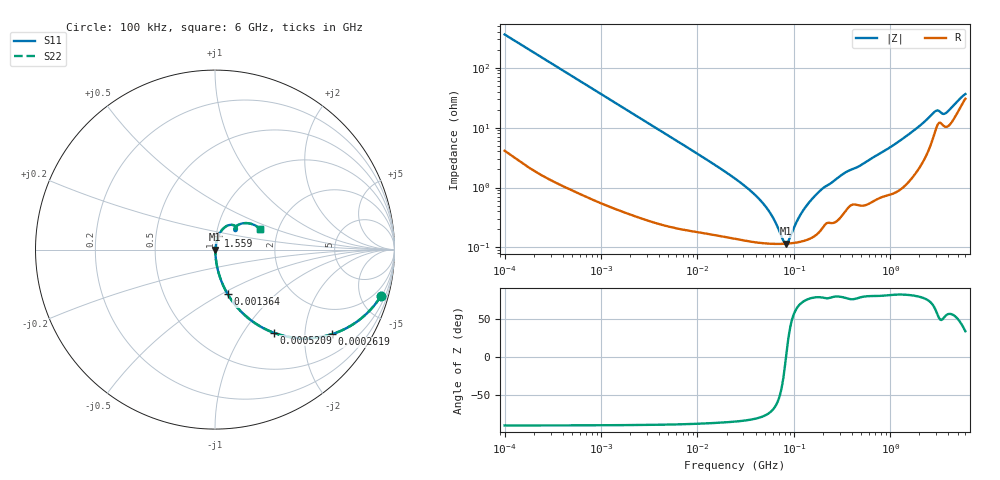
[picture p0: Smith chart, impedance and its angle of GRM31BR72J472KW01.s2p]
!Murata Part Number: GRM31BR72J472KW01
!These Parameters are Measured in Series Mode Connection
!Data Generated on Mar 30, 2021
!  o--ll--o
!Port1  Port2
!  o------o
!Operation Temp=25[degC], DC Bias Voltage=0[V]
!Freq. Start=100[kHz] Stop=6[GHz] 401[Steps]
# Hz S RI R 50
!Freq.(Hz) S11(Real) S11(Imag) S21(Real) S21(Imag) S12(Real) S12(Imag) S22(Real) S22(Imag)
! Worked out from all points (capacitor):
!   401 points, 100 kHz to 6 GHz, reference 50 ohm
!   read as one part in series: C = 4.44 nF near 105.7 kHz
!   lowest |Z| = 116 mohm at 82.16 MHz (marker M1)
!   series resonance near 82.84 MHz, so ESL is about 830 pH
!   S11 on the Smith chart (normalised r, x): 100 kHz: 1.08, -7.16; 261.9 kHz: 1.03, -2.75; 520.9 kHz: 1.02, -1.39; 1.364 MHz: 1.01, -0.53; 1.559 GHz: 1.03, +0.15; 6 GHz: 1.61, +0.40
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100000  0.9251 -0.2576  0.0749 0.2576  0.0749 0.2576  0.9251 -0.2576
164065  0.8247 -0.3749  0.1753 0.3749  0.1753 0.3749  0.8247 -0.3749
261871  0.6524 -0.4708  0.3476 0.4708  0.3476 0.4708  0.6524 -0.4708
520862  0.3271 -0.4629  0.6729 0.4629  0.6729 0.4629  0.3271 -0.4629
631452  0.2502 -0.4266  0.7498 0.4266  0.7498 0.4266  0.2502 -0.4266
1363989  0.07 -0.247  0.93 0.247  0.93 0.247  0.07 -0.247
3987316  0.0108 -0.0907  0.9892 0.0907  0.9892 0.0907  0.0108 -0.0907
2.517799e7  0.00156 -0.0136  0.9984 0.0136  0.9984 0.0136  0.00156 -0.0136
5.007898e7  0.00119 -0.00484  0.9988 0.00484  0.9988 0.00484  0.00119 -0.00484
6.07118e7  0.00116 -0.00292  0.9988 0.00292  0.9988 0.00292  0.00116 -0.00292
7.565474e7  0.00115 -0.000842  0.9989 0.000842  0.9989 0.000842  0.00115 -0.000842
8.216224e7  0.00115 -7.56e-05  0.9988 7.56e-05  0.9988 7.56e-05  0.00115 -7.56e-05
8.922949e7  0.00117 0.000692  0.9988 -0.000692  0.9988 -0.000692  0.00117 0.000692
1.174795e8  0.00126 0.00333  0.9987 -0.00333  0.9987 -0.00333  0.00126 0.00333
1.546735e8  0.0015 0.00629  0.9985 -0.00629  0.9985 -0.00629  0.0015 0.00629
1.981182e8  0.0022 0.00935  0.9978 -0.00935  0.9978 -0.00935  0.0022 0.00935
3.250433e8  0.00387 0.0164  0.9961 -0.0164  0.9961 -0.0164  0.00387 0.0164
9.76689e8  0.00949 0.0447  0.9905 -0.0447  0.9905 -0.0447  0.00949 0.0447
1.558934e9  0.018 0.0743  0.982 -0.0743  0.982 -0.0743  0.018 0.0743
2.855131e9  0.0931 0.1381  0.9069 -0.1381  0.9069 -0.1381  0.0931 0.1381
3.65708e9  0.1076 0.1089  0.8924 -0.1089  0.8924 -0.1089  0.1076 0.1089
6e9  0.2502 0.115  0.7498 -0.115  0.7498 -0.115  0.2502 0.115
